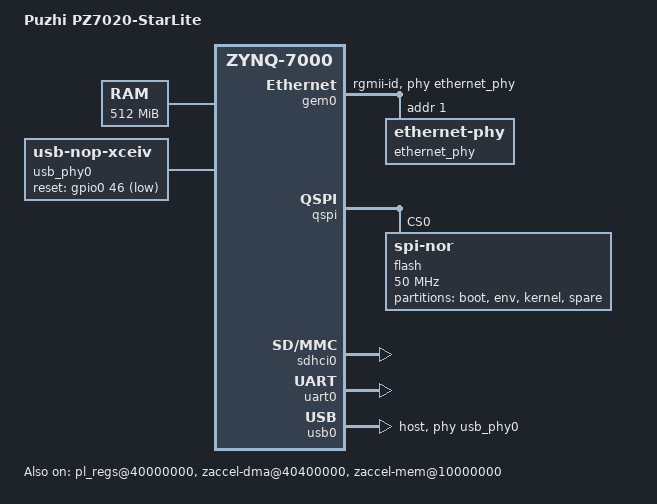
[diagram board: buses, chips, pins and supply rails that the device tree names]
// SPDX-License-Identifier: GPL-2.0+
/*
 * Puzhi PZ7020-StarLite -- Zynq XC7Z020-CLG400-2, 512 MB DDR3L: ONE MT41K256M16TW-107IT:P (4 Gbit x16)
 *   on a 16-bit bus. Proof: schematic DDR sheet (only DQ0-15, DQS0/1, DM0/1, A0-A14 wired; part
 *   MT41K256M16TW-107IT:P), the vendor bundle's only DRAM datasheet, the vendor photo's chip marking
 *   D9SHG = MT41K256M16TW-107 IT:P. (The photo's '1GB' label is wrong: no A15 line, no second chip.)
 *   The 32-bit / 1 GB PS config was silent on this board on 2026-09-26; the 16-bit one boots.
 *
 * Every line is from the vendor documents or the hardware-validated PS configuration:
 *   User Manual V1.0 Parts 3.2 (33.333 MHz PS clock), 3.5 (GEM0 on MIO16-27, MDIO 52/53),
 *   3.6 (QSPI W25Q128JV on MIO1-6), 3.10 (UART0 MIO10/11), 3.11 (SD0 MIO40-45, no CD/WP),
 *   3.12 (USB0 ULPI MIO28-39, reset MIO46); schematic sheets 15/16 (PHY addresses 1 and 2);
 *   ps7/ps7_init_gpl.c (16-bit DDR, 512 MB) -- the PS configuration that ran on this board.
 * Same file serves U-Boot (dts/upstream or arch/arm/dts) and Linux (arch/arm/boot/dts/xilinx).
 */
/dts-v1/;
#include "zynq-7000.dtsi"
#include <dt-bindings/gpio/gpio.h>

/ {
	model = "Puzhi PZ7020-StarLite";
	compatible = "puzhi,pz7020-starlite", "xlnx,zynq-7000";

	aliases {
		ethernet0 = &gem0;
		ethernet1 = &gem1;
		serial0 = &uart0;
		mmc0 = &sdhci0;
		spi0 = &qspi;
		usb0 = &usb0;
	};

	memory@0 {
		device_type = "memory";
		reg = <0x0 0x20000000>;	/* 512 MB: one x16 MT41K256M16 on a 16-bit bus (ps7/ps7_init_gpl.c) */
	};

	/* DDR3 the PL owns, so Linux never allocates it (accel/SPEC.md §3, accel/gpu/SPEC.md §10):
	 * the GPU's framebuffers, sprite pool and frame-return buffer, and the matrix engine's tensor
	 * store and DMA staging. Linux keeps 0x00000000-0x0FFFFFFF (256 MB; measured on QEMU at 512 MB: Linux
	 * and every service use ~42 MB, the zynqram export 128 MB). The GPU window is fixed in the PL. */
	reserved-memory {
		#address-cells = <1>;
		#size-cells = <1>;
		ranges;
		gpu@1e000000 {
			reg = <0x1e000000 0x2000000>;		/* 32 MB  */
			no-map;
		};
		zaccel@10000000 {
			reg = <0x10000000 0xe000000>;		/* 224 MB */
			no-map;
		};
	};

	chosen {
		bootargs = "earlycon";
		stdout-path = "serial0:115200n8";
	};

	usb_phy0: phy0 {
		#phy-cells = <0>;
		compatible = "usb-nop-xceiv";
		reset-gpios = <&gpio0 46 GPIO_ACTIVE_LOW>;	/* USBPHY_nRSET = MIO46 [M 3.12] */
	};
};

&clkc {
	ps-clk-frequency = <33333333>;		/* Y1 33.33 MHz [M 3.2, sch 4] */
};

&gem0 {
	status = "okay";
	/* rgmii-id: the PHY adds both 2 ns RGMII delays. The Zynq GEM on MIO has no delay of its own and a
	 * 2 ns PCB delay would be ~30 cm of extra clock trace, so the delays come from the PHY; every mainline Zynq board
	 * with an RGMII PHY on MIO uses rgmii-id. Linux's built-in Realtek driver (CONFIG_REALTEK_PHY=y)
	 * programs RTL8211F TX/RX delay from this value and ignores the straps, so "rgmii" would switch
	 * both delays OFF (drivers/net/phy/realtek.c rtl8211f_config_init) -- not a fallback to try. */
	phy-mode = "rgmii-id";			/* RTL8211F-CG U15 */
	phy-handle = <&ethernet_phy>;

	ethernet_phy: ethernet-phy@1 {		/* PHY_AD[2:0] = 001 [sch 15] */
		reg = <1>;
		device_type = "ethernet-phy";
		realtek,clkout-disable;		/* as in the validated PetaLinux build */
		realtek,aldps-enable;
	};
};

/* PL-side Gigabit Ethernet: GEM1 over EMIO -> AMD GMII-to-RGMII core in the fabric (MDIO address 8,
 * vivado/build_system.tcl) -> RTL8211F-CG U16 at MDIO address 2 [schematic sheet 16].
 * The MAC talks GMII to the converter; the converter talks RGMII to the PHY. */
&gem1 {
	/* off: the 16-bit PS config that boots this board does not clock GEM1 or FCLK1 (only the silent
	 * 32-bit one did). The bench uses ETH-PS (gem0) only. */
	status = "disabled";
	phy-mode = "gmii";
	phy-handle = <&pl_phy>;

	mdio {
		#address-cells = <1>;
		#size-cells = <0>;

		pl_phy: ethernet-phy@2 {		/* PHY_AD[2:0] = 010 [sch 16] */
			reg = <2>;
			device_type = "ethernet-phy";
		};

		gmii_to_rgmii: gmii-to-rgmii@8 {
			compatible = "xlnx,gmii-to-rgmii-1.0";
			reg = <8>;
			phy-handle = <&pl_phy>;
		};
	};
};

/* The PL register file (ps7-axi/pl_regs.v) on M_AXI_GP0 -- time master, LEDs, keys, fan.
 * Exposed as UIO so user space can mmap it without /dev/mem. */
&amba {
	pl_regs@40000000 {
		compatible = "generic-uio";
		reg = <0x40000000 0x1000>;
		status = "okay";
	};
	/* The matrix engine (accel/SPEC.md §2-3): its AXI DMA registers and its reserved DDR3.
	 * zaccel-server finds both by UIO name. Needs uio_pdrv_genirq.of_id=generic-uio (boot.cmd). */
	zaccel-dma@40400000 {
		compatible = "generic-uio";
		reg = <0x40400000 0x10000>;
		status = "okay";
	};
	zaccel-mem@10000000 {
		compatible = "generic-uio";
		reg = <0x10000000 0xe000000>;
		status = "okay";
	};
};

&qspi {
	status = "okay";
	flash@0 {
		compatible = "jedec,spi-nor";	/* W25Q128JV, 16 MB [M 3.6] */
		reg = <0>;
		spi-max-frequency = <50000000>;
		spi-tx-bus-width = <1>;
		spi-rx-bus-width = <4>;
		partitions {
			compatible = "fixed-partitions";
			#address-cells = <1>;
			#size-cells = <1>;
			partition@0 {
				label = "boot";		/* boot.bin + u-boot.img */
				reg = <0x0 0x500000>;
			};
			partition@500000 {
				label = "env";
				reg = <0x500000 0x20000>;
			};
			partition@520000 {
				label = "kernel";
				reg = <0x520000 0xa00000>;
			};
			partition@f20000 {
				label = "spare";
				reg = <0xf20000 0xe0000>;
			};
		};
	};
};

&sdhci0 {
	bootph-all;				/* U-Boot SPL needs this node to read BOOT partition (u-boot.img) */
	status = "okay";			/* microSD on MIO40-45, no card-detect or write-protect line [M 3.11] */
	broken-cd;
	disable-wp;
};

&cpu0 {
	/* One operating point = the real CPU clock. The validated PS config runs the APU at
	 * 766.666666 MHz (PCW_APU_PERIPHERAL_FREQMHZ, same in ps7/ and ps7-vivado/). zynq-7000.dtsi
	 * lists only 666667/333334 kHz, so on the first hardware boot (2026-09-24) cpufreq found the CPU
	 * at 766666 kHz (oops r6 = 0xbb2ca), tried to change it, got -EBUSY from the clock driver and
	 * hit BUG_ON in cpufreq_online() -> "Attempted to kill init". With this table Linux never
	 * changes the clock ps7_init set. QEMU runs at 666667 kHz, so it cannot show this. */
	operating-points = <766666 1000000>;
};

&uart0 {
	bootph-all;				/* U-Boot SPL needs this node: without it the SPL has no console (as zynq-zybo-z7.dts / zynq-zc702.dts) */
	status = "okay";			/* CH340E console, MIO10 RX / MIO11 TX, 115200 [M 3.10] */
};

&usb0 {
	status = "okay";			/* USB3320C ULPI on MIO28-39, host [M 3.12] */
	dr_mode = "host";
	usb-phy = <&usb_phy0>;
};
